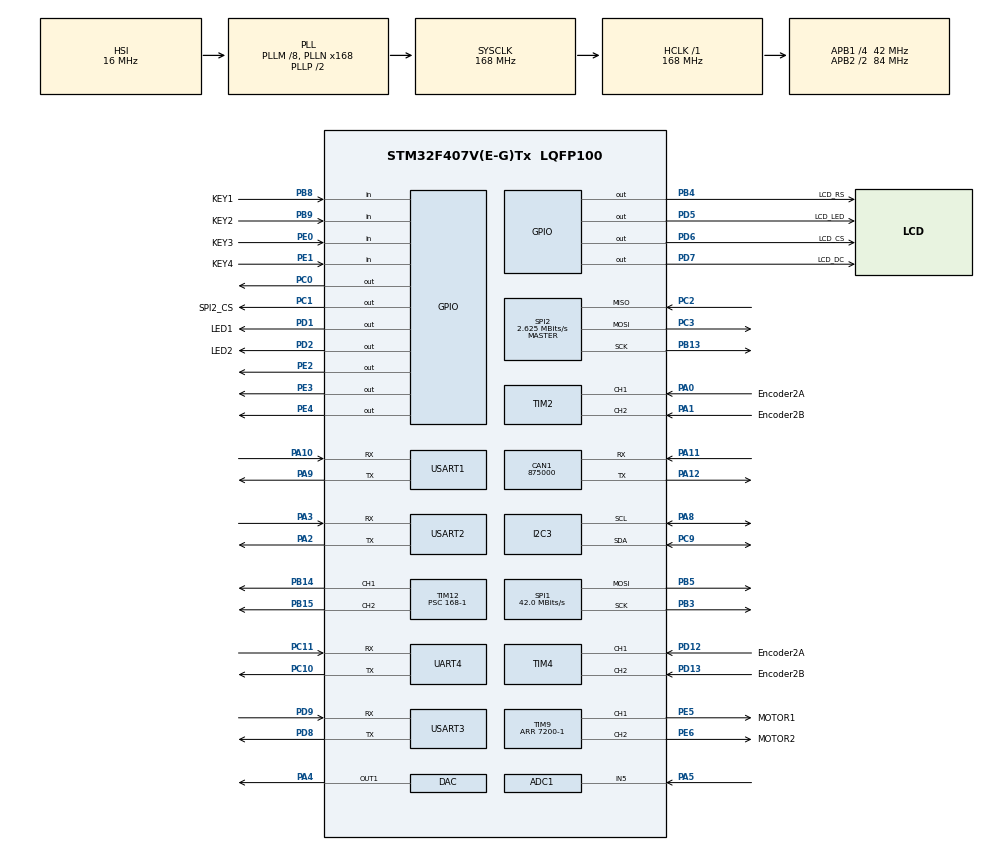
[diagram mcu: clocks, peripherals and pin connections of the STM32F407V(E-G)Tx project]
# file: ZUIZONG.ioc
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ADC1.Channel-0\#ChannelRegularConversion=ADC_CHANNEL_5
ADC1.ContinuousConvMode=DISABLE
ADC1.DiscontinuousConvMode=DISABLE
ADC1.NbrOfConversionFlag=1
ADC1.Rank-0\#ChannelRegularConversion=1
ADC1.SamplingTime-0\#ChannelRegularConversion=ADC_SAMPLETIME_15CYCLES
ADC1.ScanConvMode=DISABLE
ADC1.master=1
CAN1.CalculateBaudRate=875000
CAN1.CalculateTimeBit=1142
CAN1.CalculateTimeQuantum=380.95238095238096
Mcu.Family=STM32F4
Mcu.Name=STM32F407V(E-G)Tx
Mcu.Package=LQFP100
NVIC.PriorityGroup=NVIC_PRIORITYGROUP_4
NVIC.TIM1_UP_TIM10_IRQn=true\:1\:0\:true\:false\:true\:true\:true\:true
PA0-WKUP.GPIO_Label=Encoder2A
PA0-WKUP.Signal=S_TIM2_CH1_ETR
PA1.GPIO_Label=Encoder2B
PA1.Signal=S_TIM2_CH2
PA10.Mode=Asynchronous
PA10.Signal=USART1_RX
PA11.Mode=CAN_Activate
PA11.Signal=CAN1_RX
PA12.Mode=CAN_Activate
PA12.Signal=CAN1_TX
PA13.Mode=Serial_Wire
PA13.Signal=SYS_JTMS-SWDIO
PA14.Mode=Serial_Wire
PA14.Signal=SYS_JTCK-SWCLK
PA2.Mode=Asynchronous
PA2.Signal=USART2_TX
PA3.Mode=Asynchronous
PA3.Signal=USART2_RX
PA4.Signal=COMP_DAC1_group
PA5.Signal=ADCx_IN5
PA8.Mode=I2C
PA8.Signal=I2C3_SCL
PA9.Mode=Asynchronous
PA9.Signal=USART1_TX
PB13.Mode=Full_Duplex_Master
PB13.Signal=SPI2_SCK
PB14.Signal=S_TIM12_CH1
PB15.Signal=S_TIM12_CH2
PB3.Mode=TX_Only_Simplex_Unidirect_Master
PB3.Signal=SPI1_SCK
PB4.GPIO_Label=LCD_RS
PB4.Signal=GPIO_Output
PB5.Mode=TX_Only_Simplex_Unidirect_Master
PB5.Signal=SPI1_MOSI
PB8.GPIO_Label=KEY1
PB8.GPIO_PuPd=GPIO_PULLUP
PB8.Signal=GPIO_Input
PB9.GPIO_Label=KEY2
PB9.GPIO_PuPd=GPIO_PULLUP
PB9.Signal=GPIO_Input
PC0.Signal=GPIO_Output
PC1.GPIO_Label=SPI2_CS
PC1.GPIO_PuPd=GPIO_PULLUP
PC1.GPIO_Speed=GPIO_SPEED_FREQ_HIGH
PC1.PinState=GPIO_PIN_SET
PC1.Signal=GPIO_Output
PC10.Mode=Asynchronous
PC10.Signal=UART4_TX
PC11.Mode=Asynchronous
PC11.Signal=UART4_RX
PC2.Mode=Full_Duplex_Master
PC2.Signal=SPI2_MISO
PC3.Mode=Full_Duplex_Master
PC3.Signal=SPI2_MOSI
PC9.Mode=I2C
PC9.Signal=I2C3_SDA
PD1.GPIO_Label=LED1
PD1.Signal=GPIO_Output
PD12.GPIO_Label=Encoder2A
PD12.Signal=S_TIM4_CH1
PD13.GPIO_Label=Encoder2B
PD13.Signal=S_TIM4_CH2
PD2.GPIO_Label=LED2
PD2.Signal=GPIO_Output
PD5.GPIO_Label=LCD_LED
PD5.Signal=GPIO_Output
PD6.GPIO_Label=LCD_CS
PD6.Signal=GPIO_Output
PD7.GPIO_Label=LCD_DC
PD7.Signal=GPIO_Output
PD8.Mode=Asynchronous
PD8.Signal=USART3_TX
PD9.Mode=Asynchronous
PD9.Signal=USART3_RX
PE0.GPIO_Label=KEY3
PE0.GPIO_PuPd=GPIO_PULLUP
PE0.Signal=GPIO_Input
PE1.GPIO_Label=KEY4
PE1.GPIO_PuPd=GPIO_PULLUP
PE1.Signal=GPIO_Input
PE2.PinState=GPIO_PIN_SET
PE2.Signal=GPIO_Output
PE2.Stacked=true
PE3.PinState=GPIO_PIN_RESET
PE3.Signal=GPIO_Output
PE4.PinState=GPIO_PIN_SET
PE4.Signal=GPIO_Output
PE5.GPIO_Label=MOTOR1
PE5.Signal=S_TIM9_CH1
PE6.GPIO_Label=MOTOR2
PE6.Signal=S_TIM9_CH2
PH0-OSC_IN.Mode=HSE-External-Oscillator
PH0-OSC_IN.Signal=RCC_OSC_IN
PH1-OSC_OUT.Mode=HSE-External-Oscillator
PH1-OSC_OUT.Signal=RCC_OSC_OUT
ProjectManager.HeapSize=0x200
ProjectManager.StackSize=0x400
ProjectManager.TargetToolchain=MDK-ARM V5.32
RCC.48MHZClocksFreq_Value=84000000
RCC.AHBFreq_Value=168000000
RCC.APB1CLKDivider=RCC_HCLK_DIV4
RCC.APB1Freq_Value=42000000
RCC.APB1TimFreq_Value=84000000
RCC.APB2CLKDivider=RCC_HCLK_DIV2
RCC.APB2Freq_Value=84000000
RCC.APB2TimFreq_Value=168000000
RCC.CortexFreq_Value=168000000
RCC.HCLKFreq_Value=168000000
RCC.HSE_VALUE=25000000
RCC.HSI_VALUE=16000000
RCC.LSE_VALUE=32768
RCC.PLLM=8
RCC.PLLN=168
RCC.SYSCLKFreq_VALUE=168000000
RCC.SYSCLKSource=RCC_SYSCLKSOURCE_PLLCLK
RCC.VCOOutputFreq_Value=336000000
SH.ADCx_IN5.0=ADC1_IN5,IN5
SH.COMP_DAC1_group.0=DAC_OUT1,DAC_OUT1
SH.S_TIM12_CH1.0=TIM12_CH1,PWM Generation1 CH1
SH.S_TIM12_CH2.0=TIM12_CH2,PWM Generation2 CH2
SH.S_TIM2_CH1_ETR.0=TIM2_CH1,Encoder_Interface
SH.S_TIM2_CH2.0=TIM2_CH2,Encoder_Interface
SH.S_TIM4_CH1.0=TIM4_CH1,Encoder_Interface
SH.S_TIM4_CH2.0=TIM4_CH2,Encoder_Interface
SH.S_TIM9_CH1.0=TIM9_CH1,PWM Generation1 CH1
SH.S_TIM9_CH2.0=TIM9_CH2,PWM Generation2 CH2
SPI1.CalculateBaudRate=42.0 MBits/s
SPI1.Direction=SPI_DIRECTION_2LINES
SPI1.Mode=SPI_MODE_MASTER
SPI1.VirtualType=VM_MASTER
SPI2.BaudRatePrescaler=SPI_BAUDRATEPRESCALER_16
SPI2.CLKPhase=SPI_PHASE_2EDGE
SPI2.CLKPolarity=SPI_POLARITY_HIGH
SPI2.CalculateBaudRate=2.625 MBits/s
SPI2.Direction=SPI_DIRECTION_2LINES
SPI2.Mode=SPI_MODE_MASTER
SPI2.VirtualType=VM_MASTER
TIM1.Period=1000-1
TIM1.Prescaler=16800-1
TIM12.Channel-PWM\ Generation1\ CH1=TIM_CHANNEL_1
TIM12.Channel-PWM\ Generation2\ CH2=TIM_CHANNEL_2
TIM12.Period=100-1
TIM12.Prescaler=168-1
TIM9.Channel-PWM\ Generation1\ CH1=TIM_CHANNEL_1
TIM9.Channel-PWM\ Generation2\ CH2=TIM_CHANNEL_2
TIM9.Period=7200-1
UART4.VirtualMode=Asynchronous
USART1.VirtualMode=VM_ASYNC
USART2.VirtualMode=VM_ASYNC
USART3.VirtualMode=VM_ASYNC
VP_TIM12_VS_ClockSourceINT.Mode=Internal
VP_TIM1_VS_ClockSourceINT.Mode=Internal
VP_TIM9_VS_ClockSourceINT.Mode=Internal
board=custom

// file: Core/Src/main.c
/* USER CODE BEGIN Header */
/**
  ******************************************************************************
  * @file           : main.c
  * @brief          : Main program body
  ******************************************************************************
  * @attention
  *
  * Copyright (c) 2024 STMicroelectronics.
  * All rights reserved.
  *
  * This software is licensed under terms that can be found in the LICENSE file
  * in the root directory of this software component.
  * If no LICENSE file comes with this software, it is provided AS-IS.
  *
  ******************************************************************************
  */
/* USER CODE END Header */
#include "main.h"
#include "adc.h"
#include "can.h"
#include "dac.h"
#include "i2c.h"
#include "spi.h"
#include "tim.h"
#include "usart.h"
#include "gpio.h"

/* USER CODE BEGIN Includes */
#include "stdio.h"
#include "lcd.h"
#include "gui.h"
#include <stdio.h>
#include "key.h"
#include "motor.h"
#include "bee.h"
#include "AT24C02.h"
#include <string.h>
#include "delay.h"
#include "imu660ra.h"
/* USER CODE END Includes */

/* USER CODE BEGIN PTD */
char str[80];
int  music1 = 0;
int duoji = 90;
int motor_speed = 0;
int led_time;
uint8_t led_flag = 0;
int ball_x = 64,ball_y = 80;
/* USER CODE END PTD */

/* USER CODE BEGIN PD */
#define EEPROM_WRITE_ADDR 0x00   // 向 EEPROM 写入的起始地址
#define EEPROM_READ_ADDR  0x00   // 从 EEPROM 读取的起始地址
#define EEPROM_DATA_SIZE  16     // 要读写的字节数
uint8_t writeBuffer[EEPROM_DATA_SIZE] = "A";  // 写入的数据
uint8_t readBuffer[EEPROM_DATA_SIZE];  // 用来存放读取的数据
uint16_t adc_value;
// 定义屏幕分辨率
#define SCREEN_WIDTH  128  // LCD 宽度
#define SCREEN_HEIGHT 160  // LCD 高度

// 定义球的半径
#define BALL_RADIUS 5
/* USER CODE END PD */

void SystemClock_Config(void);
/* USER CODE BEGIN PFP */
// 功能函数示例
void update_ball_position(float rol1, float pit1, int *ball_x, int *ball_y) {
    // 屏幕中心位置
    int center_x = SCREEN_WIDTH / 2;
    int center_y = SCREEN_HEIGHT / 2;

    // 将 ROL 和 PIT 转换为屏幕上的位移
    // 假设 ROL 和 PIT 范围为 [-90, 90]
    int dx = (int )(rol1 / 90.0 * (SCREEN_WIDTH / 2 - BALL_RADIUS));
    int dy = (int)(-pit1 / 90.0 * (SCREEN_HEIGHT / 2 - BALL_RADIUS));

    // 计算新的小球坐标
    *ball_x = center_x + dx;
    *ball_y = center_y + dy;

    // 边界检查，防止小球超出屏幕
    if (*ball_x < BALL_RADIUS) *ball_x = BALL_RADIUS;
    if (*ball_x > SCREEN_WIDTH - BALL_RADIUS) *ball_x = SCREEN_WIDTH - BALL_RADIUS;
    if (*ball_y < BALL_RADIUS) *ball_y = BALL_RADIUS;
    if (*ball_y > SCREEN_HEIGHT - BALL_RADIUS) *ball_y = SCREEN_HEIGHT - BALL_RADIUS;
}
void Function1(void) {
		sprintf(str,"   LED   ");
		Gui_StrCenter(10,30,WHITE ,BLACK,(uint8_t *)str,16,0);
		sprintf(str," BUZZER  ");
		Gui_StrCenter(10,50,WHITE ,BLUE,(uint8_t *)str,16,0);
		sprintf(str,"  MOTOR  ");
		Gui_StrCenter(10,70,WHITE ,BLUE,(uint8_t *)str,16,0);
		sprintf(str,"  SERVO  ");
		Gui_StrCenter(10,90,WHITE ,BLUE,(uint8_t *)str,16,0);
		sprintf(str,"GYROSCOPE");
		Gui_StrCenter(10,110,WHITE ,BLUE,(uint8_t *)str,16,0);
		sprintf(str," ADC DAC ");
		Gui_StrCenter(10,130,WHITE ,BLUE,(uint8_t *)str,16,0);
	//HAL_GPIO_Pin (GPIOD,GPIO_PIN_1)

    // 执行功能1
}

void Function2(void) {
    // 执行功能2
		sprintf(str,"   LED   ");
		Gui_StrCenter(10,30,WHITE ,BLUE,(uint8_t *)str,16,0);
		sprintf(str," BUZZER  ");
		Gui_StrCenter(10,50,WHITE ,BLACK,(uint8_t *)str,16,0);
		sprintf(str,"  MOTOR  ");
		Gui_StrCenter(10,70,WHITE ,BLUE,(uint8_t *)str,16,0);
		sprintf(str,"  SERVO  ");
		Gui_StrCenter(10,90,WHITE ,BLUE,(uint8_t *)str,16,0);
		sprintf(str,"GYROSCOPE");
		Gui_StrCenter(10,110,WHITE ,BLUE,(uint8_t *)str,16,0);
		sprintf(str," ADC DAC ");
		Gui_StrCenter(10,130,WHITE ,BLUE,(uint8_t *)str,16,0);

}

void Function3(void) {
    // 执行功能3
		sprintf(str,"   LED   ");
		Gui_StrCenter(10,30,WHITE ,BLUE,(uint8_t *)str,16,0);
		sprintf(str," BUZZER  ");
		Gui_StrCenter(10,50,WHITE ,BLUE,(uint8_t *)str,16,0);
		sprintf(str,"  MOTOR  ");
		Gui_StrCenter(10,70,WHITE ,BLACK,(uint8_t *)str,16,0);
		sprintf(str,"  SERVO  ");
		Gui_StrCenter(10,90,WHITE ,BLUE,(uint8_t *)str,16,0);
		sprintf(str,"GYROSCOPE");
		Gui_StrCenter(10,110,WHITE ,BLUE,(uint8_t *)str,16,0);
		sprintf(str," ADC DAC ");
		Gui_StrCenter(10,130,WHITE ,BLUE,(uint8_t *)str,16,0);
}

void Function4(void) {
    // 执行功能4
		sprintf(str,"   LED   ");
		Gui_StrCenter(10,30,WHITE ,BLUE,(uint8_t *)str,16,0);
		sprintf(str," BUZZER  ");
		Gui_StrCenter(10,50,WHITE ,BLUE,(uint8_t *)str,16,0);
		sprintf(str,"  MOTOR  ");
		Gui_StrCenter(10,70,WHITE ,BLUE,(uint8_t *)str,16,0);
		sprintf(str,"  SERVO  ");
		Gui_StrCenter(10,90,WHITE ,BLACK,(uint8_t *)str,16,0);
		sprintf(str,"GYROSCOPE");
		Gui_StrCenter(10,110,WHITE ,BLUE,(uint8_t *)str,16,0);
		sprintf(str," ADC DAC ");
		Gui_StrCenter(10,130,WHITE ,BLUE,(uint8_t *)str,16,0);
}
void Function5(void) {
    // 执行功能4
		sprintf(str,"   LED   ");
		Gui_StrCenter(10,30,WHITE ,BLUE,(uint8_t *)str,16,0);
		sprintf(str," BUZZER  ");
		Gui_StrCenter(10,50,WHITE ,BLUE,(uint8_t *)str,16,0);
		sprintf(str,"  MOTOR  ");
		Gui_StrCenter(10,70,WHITE ,BLUE,(uint8_t *)str,16,0);
		sprintf(str,"  SERVO  ");
		Gui_StrCenter(10,90,WHITE ,BLUE,(uint8_t *)str,16,0);
		sprintf(str,"GYROSCOPE");
		Gui_StrCenter(10,110,WHITE ,BLACK,(uint8_t *)str,16,0);
		sprintf(str," ADC DAC ");
		Gui_StrCenter(10,130,WHITE ,BLUE,(uint8_t *)str,16,0);
}
void Function6(void) {
    // 执行功能4
		sprintf(str,"   LED   ");
		Gui_StrCenter(10,30,WHITE ,BLUE,(uint8_t *)str,16,0);
		sprintf(str," BUZZER  ");
		Gui_StrCenter(10,50,WHITE ,BLUE,(uint8_t *)str,16,0);
		sprintf(str,"  MOTOR  ");
		Gui_StrCenter(10,70,WHITE ,BLUE,(uint8_t *)str,16,0);
		sprintf(str,"  SERVO  ");
		Gui_StrCenter(10,90,WHITE ,BLUE,(uint8_t *)str,16,0);
		sprintf(str,"GYROSCOPE");
		Gui_StrCenter(10,110,WHITE ,BLUE,(uint8_t *)str,16,0);
		sprintf(str," ADC DAC ");
		Gui_StrCenter(10,130,WHITE ,BLACK,(uint8_t *)str,16,0);
}
void Function1_1(void) {
		//LCD_Fill(0,0,100,100,WHITE );
		sprintf(str,"   LED   ");
		Gui_StrCenter(10,30,WHITE  ,BLUE,(uint8_t *)str,16,0);
		sprintf(str,"             ");
		Gui_StrCenter(10,50,WHITE ,BLUE,(uint8_t *)str,16,0);
		sprintf(str,"             ");
		Gui_StrCenter(10,70,WHITE ,BLUE,(uint8_t *)str,16,0);
		sprintf(str,"             ");
		Gui_StrCenter(10,90,WHITE ,BLUE,(uint8_t *)str,16,0);
		sprintf(str,"            ");
		Gui_StrCenter(10,110,WHITE ,BLUE,(uint8_t *)str,16,0);
		sprintf(str,"             ");
		Gui_StrCenter(10,130,WHITE ,BLUE,(uint8_t *)str,16,0);
	if(time_100ms_cnt_1 - led_time > 2 )
		{
			if(led_flag ==0)
			{
				HAL_GPIO_TogglePin (GPIOD,GPIO_PIN_1);
				led_flag = 1;
			}
			else
			{
				HAL_GPIO_TogglePin (GPIOD,GPIO_PIN_2);
				led_flag = 0;
			}
				led_time=time_100ms_cnt_1 ;

		}
    // 执行功能1

}

void Function2_1(void) {
    // 执行功能2
		sprintf(str," BUZZER  ");
		Gui_StrCenter(10,30,WHITE  ,BLUE,(uint8_t *)str,16,0);
		sprintf(str,"    %d        ",music1);
		Gui_StrCenter(10,50,WHITE ,BLUE,(uint8_t *)str,16,0);
		sprintf(str,"             ");
		Gui_StrCenter(10,70,WHITE ,BLUE,(uint8_t *)str,16,0);
		sprintf(str,"             ");
		Gui_StrCenter(10,90,WHITE ,BLUE,(uint8_t *)str,16,0);
		sprintf(str,"            ");
		Gui_StrCenter(10,110,WHITE ,BLUE,(uint8_t *)str,16,0);
		sprintf(str,"             ");
		Gui_StrCenter(10,130,WHITE ,BLUE,(uint8_t *)str,16,0);
	if( music1 == 0)
	{
		play_music(music1,0);
	}
	else
		play_music(music1,1);
}

void Function3_1(void) {
    // 执行功能3
		sprintf(str,"  MOTOR  ");
		Gui_StrCenter(10,30,WHITE  ,BLUE,(uint8_t *)str,16,0);
		sprintf(str,"      %d     ",motor_speed );
		Gui_StrCenter(10,50,WHITE ,BLUE,(uint8_t *)str,16,0);
		sprintf(str,"             ");
		Gui_StrCenter(10,70,WHITE ,BLUE,(uint8_t *)str,16,0);
		sprintf(str,"             ");
		Gui_StrCenter(10,90,WHITE ,BLUE,(uint8_t *)str,16,0);
		sprintf(str,"            ");
		Gui_StrCenter(10,110,WHITE ,BLUE,(uint8_t *)str,16,0);
		sprintf(str,"             ");
		Gui_StrCenter(10,130,WHITE ,BLUE,(uint8_t *)str,16,0);
		Set_Pwm(motor_speed ,motor_speed);
}

void Function4_1(void) {
    // 执行功能4
		sprintf(str,"  SERVO  ");
		Gui_StrCenter(10,30,WHITE  ,BLUE,(uint8_t *)str,16,0);
		sprintf(str,"    %d        ",duoji );
		Gui_StrCenter(10,50,WHITE ,BLUE,(uint8_t *)str,16,0);
		sprintf(str,"             ");
		Gui_StrCenter(10,70,WHITE ,BLUE,(uint8_t *)str,16,0);
		sprintf(str,"             ");
		Gui_StrCenter(10,90,WHITE ,BLUE,(uint8_t *)str,16,0);
		sprintf(str,"            ");
		Gui_StrCenter(10,110,WHITE ,BLUE,(uint8_t *)str,16,0);
		sprintf(str,"             ");
		Gui_StrCenter(10,130,WHITE ,BLUE,(uint8_t *)str,16,0);
	__HAL_TIM_SET_COMPARE(&htim12,TIM_CHANNEL_1,duoji/180.0*2000+500);
}
void Function5_1(void) {
    // 执行功能4
//		sprintf(str,"GYROSCOPE");
//		Gui_StrCenter(10,30,WHITE  ,BLUE,(uint8_t *)str,16,0);
//		sprintf(str,"             ");
//		Gui_StrCenter(10,50,WHITE ,BLUE,(uint8_t *)str,16,0);
//		sprintf(str,"             ");
//		Gui_StrCenter(10,70,WHITE ,BLUE,(uint8_t *)str,16,0);
//		sprintf(str,"             ");
//		Gui_StrCenter(10,90,WHITE ,BLUE,(uint8_t *)str,16,0);
//		sprintf(str,"            ");
//		Gui_StrCenter(10,110,WHITE ,BLUE,(uint8_t *)str,16,0);
//		sprintf(str,"             ");
//		Gui_StrCenter(10,130,WHITE ,BLUE,(uint8_t *)str,16,0);
	LCD_Clear(BLUE );
			update_ball_position(-rol,  -pit, &ball_x, &ball_y);
	    gui_circle(ball_x,ball_y,BLACK ,5, 1);
}//rol, pit, yaw
void Get_adc(void )
{
			HAL_ADC_Start(&hadc1);
	if (HAL_ADC_PollForConversion(&hadc1, HAL_MAX_DELAY) == HAL_OK)
        {
            adc_value =  HAL_ADC_GetValue(&hadc1); // 获取转换后的数字值

        }

}
void Function6_1(void) {
    // 执行功能4
		sprintf(str," ADC DAC ");
		Gui_StrCenter(10,30,WHITE  ,BLUE,(uint8_t *)str,16,0);
		sprintf(str,"   %.2f        ",(adc_value / 4096.0) * 3.3);
		Gui_StrCenter(10,50,WHITE ,BLUE,(uint8_t *)str,16,0);
		sprintf(str,"             ");
		Gui_StrCenter(10,70,WHITE ,BLUE,(uint8_t *)str,16,0);
		sprintf(str,"             ");
		Gui_StrCenter(10,90,WHITE ,BLUE,(uint8_t *)str,16,0);
		sprintf(str,"            ");
		Gui_StrCenter(10,110,WHITE ,BLUE,(uint8_t *)str,16,0);
		sprintf(str,"             ");
		Gui_StrCenter(10,130,WHITE ,BLUE,(uint8_t *)str,16,0);
		Get_adc();
}
MenuItem mainmenu;

/* USER CODE END PFP */

int main(void)
{

  /* MCU Configuration--------------------------------------------------------*/

  /* Reset of all peripherals, Initializes the Flash interface and the Systick. */
  HAL_Init();

  /* Configure the system clock */
  SystemClock_Config();

  /* Initialize all configured peripherals */
  MX_GPIO_Init();
  MX_CAN1_Init();
  MX_I2C3_Init();
  MX_SPI1_Init();
  MX_SPI2_Init();
  MX_TIM2_Init();
  MX_TIM4_Init();
  MX_TIM9_Init();
  MX_UART4_Init();
  MX_USART1_UART_Init();
  MX_USART2_UART_Init();
  MX_USART3_UART_Init();
  MX_TIM1_Init();
  MX_TIM12_Init();
  MX_ADC1_Init();
  MX_DAC_Init();
  /* USER CODE BEGIN 2 */
	LCD_Init();
	motor_int();
  //main_test();
	HAL_TIM_PWM_Start(&htim12, TIM_CHANNEL_2);	//???启PWM
	HAL_TIM_PWM_Start(&htim12, TIM_CHANNEL_1);
	HAL_TIM_Base_Start_IT(&htim1);		  	//???启定时器???
	tone_init(); //初始化音量频???
	list_max = music_init();//更新乐谱
	EN=1;
//
 // 创建菜单项
		MenuItem submenu1 = {"Function 1", Function1, NULL, NULL, NULL, NULL,1};
    MenuItem submenu2 = {"Function 2", Function2, NULL, NULL, NULL, NULL,2};
    MenuItem submenu3 = {"Function 3", Function3, NULL, NULL, NULL, NULL,3};
    MenuItem submenu4 = {"Function 4", Function4, NULL, NULL, NULL, NULL,4};
		MenuItem submenu5 = {"Function 5", Function5, NULL, NULL, NULL, NULL,5};
		MenuItem submenu6 = {"Function 6", Function6, NULL, NULL, NULL, NULL,6};
		MenuItem submenu1_1 = {"Function 1_1", Function1_1, NULL, NULL, NULL, NULL,7};
    MenuItem submenu2_1= {"Function 2_1", Function2_1, NULL, NULL, NULL, NULL,8};
    MenuItem submenu3_1 = {"Function 3_1", Function3_1, NULL, NULL, NULL, NULL,9};
    MenuItem submenu4_1= {"Function 4_1", Function4_1, NULL, NULL, NULL, NULL,10};
		MenuItem submenu5_1 = {"Function 5_1", Function5_1, NULL, NULL, NULL, NULL,11};
		MenuItem submenu6_1 = {"Function 6_1", Function6_1, NULL, NULL, NULL, NULL,12};

    // 连接菜单项为链表
    submenu1.next = &submenu2;
    submenu2.next = &submenu3;
    submenu3.next = &submenu4;
    submenu4.next = &submenu5;
		submenu5.next = &submenu6;
		submenu6.next = &submenu1;

		submenu1.up = &submenu1;
		submenu2.up = &submenu1;
		submenu3.up = &submenu2;
		submenu4.up = &submenu3;
		submenu5.up = &submenu4;
		submenu6.up = &submenu5;

		submenu1.parent = &submenu1;
    submenu2.parent = &submenu1;
    submenu3.parent = &submenu1;
    submenu4.parent = &submenu1;
		submenu5.parent = &submenu1;
		submenu6.parent = &submenu1;

		submenu1.children = &submenu1_1;
		submenu2.children = &submenu2_1;
		submenu3.children = &submenu3_1;
		submenu4.children = &submenu4_1;
		submenu5.children = &submenu5_1;
		submenu6.children = &submenu6_1;

		submenu1_1.parent = &submenu1;
    submenu2_1.parent = &submenu2;
    submenu3_1.parent = &submenu3;
    submenu4_1.parent = &submenu4;
		submenu5_1.parent = &submenu5;
		submenu6_1.parent = &submenu6;

		mainmenu = submenu1;

	LCD_Clear(BLUE );
  /* USER CODE END 2 */

  /* Infinite loop */
  /* USER CODE BEGIN WHILE */
//	   if (memcmp(writeBuffer, readBuffer, EEPROM_DATA_SIZE) == 0)
//    {
//        // 数据一致，表示写入和读取成功
//        HAL_GPIO_WritePin(GPIOB, GPIO_PIN_0, GPIO_PIN_SET);  // 通过 GPIO 引脚指示成功（例如点亮 LED）
//			printf("cg");
//    }
//   else
//    {
//        // 数据不一致，表示失败
//        HAL_GPIO_WritePin(GPIOB, GPIO_PIN_1, GPIO_PIN_SET);  // 通过另一个 GPIO 引脚指示失败（例如点亮另一盏 LED）
//    }
//
		Set_Pwm(motor_speed ,motor_speed);
		__HAL_TIM_SET_COMPARE(&htim12,TIM_CHANNEL_2,0);
		__HAL_TIM_SET_COMPARE(&htim12,TIM_CHANNEL_1,0);
		HAL_DAC_SetValue(&hdac, DAC_CHANNEL_1, DAC_ALIGN_12B_R, 2048);  //设置发生的电压
		HAL_DAC_Start(&hdac,DAC_CHANNEL_1);  //开启DAC1
		HAL_ADC_Start(&hadc1);
		delay_init(168);
		imu660ra_init();

  while (1)
  {
    /* USER CODE END WHILE */

    /* USER CODE BEGIN 3 */
		Get_Angle();
		mainmenu.function();
		key_1 ();
		key_2 ();
		key_3 ();
		key_4 ();

  }
  /* USER CODE END 3 */
}

void SystemClock_Config(void)
{
  RCC_OscInitTypeDef RCC_OscInitStruct = {0};
  RCC_ClkInitTypeDef RCC_ClkInitStruct = {0};

  /** Configure the main internal regulator output voltage
  */
  __HAL_RCC_PWR_CLK_ENABLE();
  __HAL_PWR_VOLTAGESCALING_CONFIG(PWR_REGULATOR_VOLTAGE_SCALE1);

  /** Initializes the RCC Oscillators according to the specified parameters
  * in the RCC_OscInitTypeDef structure.
  */
  RCC_OscInitStruct.OscillatorType = RCC_OSCILLATORTYPE_HSI;
  RCC_OscInitStruct.HSIState = RCC_HSI_ON;
  RCC_OscInitStruct.HSICalibrationValue = RCC_HSICALIBRATION_DEFAULT;
  RCC_OscInitStruct.PLL.PLLState = RCC_PLL_ON;
  RCC_OscInitStruct.PLL.PLLSource = RCC_PLLSOURCE_HSI;
  RCC_OscInitStruct.PLL.PLLM = 8;
  RCC_OscInitStruct.PLL.PLLN = 168;
  RCC_OscInitStruct.PLL.PLLP = RCC_PLLP_DIV2;
  RCC_OscInitStruct.PLL.PLLQ = 4;
  if (HAL_RCC_OscConfig(&RCC_OscInitStruct) != HAL_OK)
  {
    Error_Handler();
  }

  /** Initializes the CPU, AHB and APB buses clocks
  */
  RCC_ClkInitStruct.ClockType = RCC_CLOCKTYPE_HCLK|RCC_CLOCKTYPE_SYSCLK
                              |RCC_CLOCKTYPE_PCLK1|RCC_CLOCKTYPE_PCLK2;
  RCC_ClkInitStruct.SYSCLKSource = RCC_SYSCLKSOURCE_PLLCLK;
  RCC_ClkInitStruct.AHBCLKDivider = RCC_SYSCLK_DIV1;
  RCC_ClkInitStruct.APB1CLKDivider = RCC_HCLK_DIV4;
  RCC_ClkInitStruct.APB2CLKDivider = RCC_HCLK_DIV2;

  if (HAL_RCC_ClockConfig(&RCC_ClkInitStruct, FLASH_LATENCY_5) != HAL_OK)
  {
    Error_Handler();
  }
}

void Error_Handler(void)
{
  __disable_irq();
  while (1)
  {
  }
}
